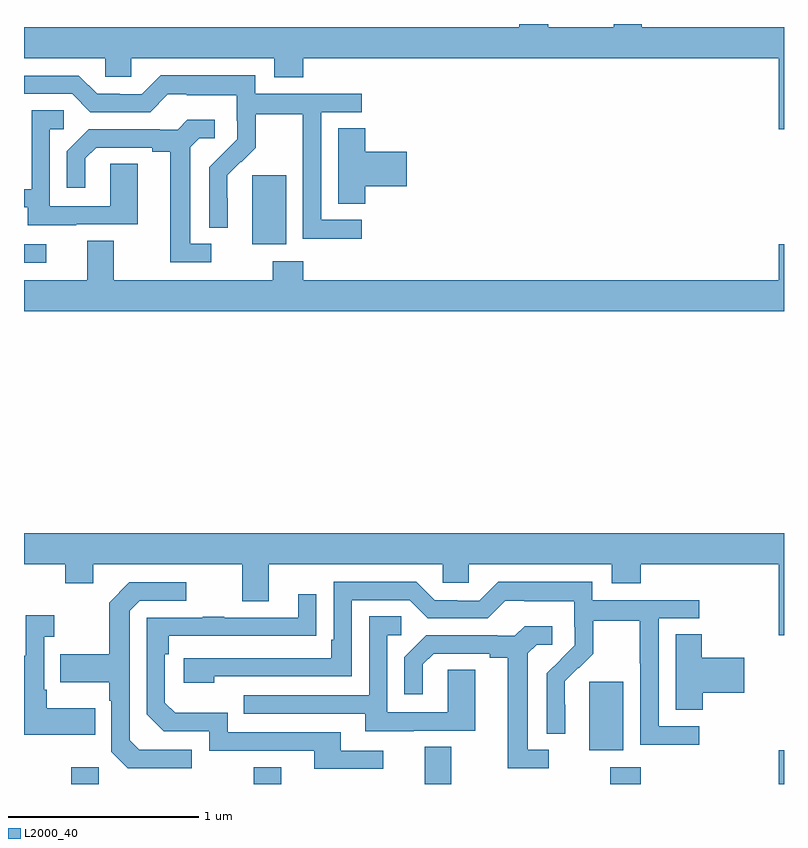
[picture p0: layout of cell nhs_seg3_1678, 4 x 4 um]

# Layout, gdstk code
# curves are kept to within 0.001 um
import gdstk
lib = gdstk.Library(unit=1e-6, precision=1e-09)
def R(c, l, rs):  # rectangles x0, y0, x1, y1
    for r in rs: c.add(gdstk.rectangle(r[:2], r[2:], *l))
def P(c, l, *ps):  # polygons
    for p in ps: c.add(gdstk.Polygon(p, *l))
L2000_40 = (2000, 40)

nhs_seg3_1678 = lib.new_cell('nhs_seg3_1678')
R(nhs_seg3_1678, L2000_40, [(197.248,726.4,197.394,726.487), (198.208,726.4,198.355,726.487), (199.109,726.4,199.249,726.596), (200.086,726.4,200.246,726.487), (200.972,726.4,201,726.577), (199.976,726.578,200.155,726.939), (197,729.144,197.116,729.24), (198.2,729.242,198.379,729.603)])
P(nhs_seg3_1678, L2000_40, [(201,730.384),(200.251,730.384),(200.251,730.4),(200.104,730.4),(200.104,730.384),(199.759,730.384),(199.759,730.4),(199.607,730.4),(199.607,730.384),(197,730.384),(197,730.22),(197.427,730.22),(197.427,730.122),(197.565,730.122),(197.565,730.22),(198.317,730.22),(198.317,730.121),(198.47,730.121),(198.47,730.22),(200.972,730.22),(200.972,729.846),(201,729.846)],
  [(198.778,729.369),(198.564,729.369),(198.564,729.936),(198.778,729.936),(198.778,730.032),(198.216,730.032),(198.216,730.129),(197.719,730.129),(197.619,730.029),(197.504,730.029),(197.504,730.032),(197.385,730.032),(197.289,730.128),(197,730.128),(197,730.032),(197.253,730.032),(197.349,729.936),(197.664,729.936),(197.757,730.029),(197.857,730.029),(197.857,730.025),(198.12,730.025),(198.12,729.891),(198.122,729.891),(198.122,729.794),(197.976,729.646),(197.976,729.328),(198.072,729.328),(198.071,729.605),(198.141,729.675),(198.144,729.672),(198.221,729.749),(198.221,729.924),(198.466,729.924),(198.466,729.7),(198.468,729.7),(198.468,729.271),(198.778,729.271)],
  [(197.275,729.345),(197.599,729.345),(197.599,729.665),(197.454,729.665),(197.454,729.441),(197.136,729.441),(197.136,729.846),(197.209,729.846),(197.209,729.947),(197.04,729.947),(197.04,729.531),(197,729.531),(197,729.435),(197.021,729.435),(197.021,729.341),(197.275,729.341)],
  [(197.986,729.243),(197.875,729.243),(197.875,729.751),(197.922,729.798),(198.004,729.798),(198.004,729.895),(197.86,729.895),(197.808,729.843),(197.714,729.843),(197.714,729.846),(197.342,729.846),(197.226,729.73),(197.226,729.537),(197.323,729.537),(197.323,729.693),(197.38,729.75),(197.675,729.75),(197.675,729.728),(197.771,729.728),(197.771,729.147),(197.986,729.147)],
  [(198.797,729.545),(199.015,729.545),(199.015,729.728),(198.797,729.728),(198.797,729.851),(198.653,729.851),(198.653,729.454),(198.797,729.454)],
  [(201,729.241),(200.972,729.241),(200.972,729.052),(198.47,729.052),(198.47,729.151),(198.31,729.151),(198.31,729.052),(197.473,729.052),(197.473,729.26),(197.333,729.26),(197.333,729.052),(197,729.052),(197,728.888),(201,728.888)],
  [(201,727.72),(197,727.72),(197,727.556),(197.218,727.556),(197.218,727.457),(197.365,727.457),(197.365,727.556),(198.149,727.556),(198.149,727.362),(198.289,727.362),(198.289,727.556),(199.203,727.556),(199.203,727.458),(199.341,727.458),(199.341,727.556),(200.093,727.556),(200.093,727.457),(200.246,727.457),(200.246,727.556),(200.972,727.556),(200.972,727.182),(201,727.182)],
  [(200.554,726.705),(200.34,726.705),(200.34,727.272),(200.554,727.272),(200.554,727.368),(199.992,727.368),(199.992,727.465),(199.495,727.465),(199.395,727.365),(199.28,727.365),(199.28,727.368),(199.161,727.368),(199.065,727.464),(198.63,727.464),(198.63,727.159),(198.617,727.159),(198.617,727.062),(197.841,727.062),(197.841,726.932),(198.002,726.932),(198.002,726.966),(198.726,726.966),(198.726,727.368),(199.029,727.368),(199.125,727.272),(199.44,727.272),(199.533,727.365),(199.633,727.365),(199.633,727.361),(199.896,727.361),(199.896,727.227),(199.898,727.227),(199.898,727.13),(199.752,726.982),(199.752,726.664),(199.848,726.664),(199.847,726.941),(199.917,727.011),(199.92,727.008),(199.997,727.085),(199.997,727.26),(200.242,727.26),(200.242,727.036),(200.244,727.036),(200.244,726.607),(200.554,726.607)],
  [(197.884,726.579),(197.607,726.579),(197.556,726.63),(197.556,727.311),(197.61,727.365),(197.854,727.365),(197.854,727.461),(197.553,727.461),(197.448,727.355),(197.448,727.083),(197.191,727.083),(197.191,726.935),(197.448,726.935),(197.448,726.839),(197.46,726.839),(197.46,726.57),(197.547,726.483),(197.884,726.483)],
  [(198.892,726.576),(198.667,726.576),(198.667,726.672),(198.072,726.672),(198.072,726.775),(197.795,726.775),(197.742,726.828),(197.742,727.082),(197.762,727.082),(197.762,727.179),(198.539,727.18),(198.539,727.399),(198.443,727.399),(198.443,727.275),(198.053,727.275),(198.053,727.28),(197.941,727.28),(197.941,727.275),(197.646,727.275),(197.646,726.768),(197.736,726.678),(197.976,726.678),(197.976,726.576),(198.527,726.576),(198.527,726.48),(198.892,726.48)],
  [(197.375,726.799),(197.119,726.799),(197.119,726.895),(197.106,726.895),(197.106,727.175),(197.158,727.175),(197.158,727.288),(197.009,727.288),(197.009,727.075),(197,727.075),(197,726.659),(197.375,726.659)],
  [(199.051,726.681),(199.375,726.681),(199.375,727.001),(199.23,727.001),(199.23,726.777),(198.912,726.777),(198.912,727.182),(198.985,727.182),(198.985,727.283),(198.816,727.283),(198.816,726.867),(198.157,726.867),(198.157,726.771),(198.797,726.771),(198.797,726.677),(199.051,726.677)],
  [(199.762,726.579),(199.651,726.579),(199.651,727.087),(199.698,727.134),(199.78,727.134),(199.78,727.231),(199.636,727.231),(199.584,727.179),(199.49,727.179),(199.49,727.182),(199.118,727.182),(199.002,727.066),(199.002,726.873),(199.099,726.873),(199.099,727.029),(199.156,727.086),(199.451,727.086),(199.451,727.064),(199.547,727.064),(199.547,726.483),(199.762,726.483)],
  [(200.573,726.881),(200.791,726.881),(200.791,727.064),(200.568,727.064),(200.568,727.187),(200.429,727.187),(200.429,726.79),(200.573,726.79)])

lib.write_gds('nhs_seg3_1678.gds')
